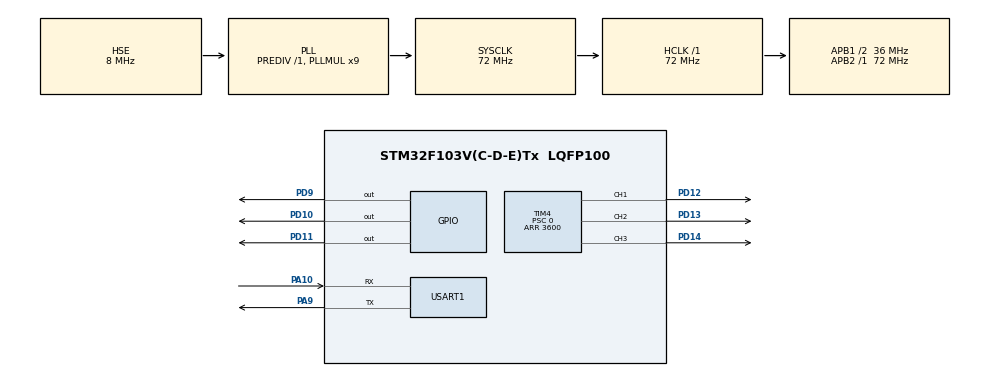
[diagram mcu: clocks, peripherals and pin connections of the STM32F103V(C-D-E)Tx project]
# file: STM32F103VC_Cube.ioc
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Dma.Request0=USART1_RX
Dma.Request1=USART1_TX
Dma.USART1_RX.0.Direction=DMA_PERIPH_TO_MEMORY
Dma.USART1_RX.0.Instance=DMA1_Channel5
Dma.USART1_RX.0.MemDataAlignment=DMA_MDATAALIGN_BYTE
Dma.USART1_RX.0.MemInc=DMA_MINC_ENABLE
Dma.USART1_RX.0.Mode=DMA_NORMAL
Dma.USART1_RX.0.PeriphDataAlignment=DMA_PDATAALIGN_BYTE
Dma.USART1_RX.0.PeriphInc=DMA_PINC_DISABLE
Dma.USART1_RX.0.Priority=DMA_PRIORITY_LOW
Dma.USART1_TX.1.Direction=DMA_MEMORY_TO_PERIPH
Dma.USART1_TX.1.Instance=DMA1_Channel4
Dma.USART1_TX.1.MemDataAlignment=DMA_MDATAALIGN_BYTE
Dma.USART1_TX.1.MemInc=DMA_MINC_ENABLE
Dma.USART1_TX.1.Mode=DMA_NORMAL
Dma.USART1_TX.1.PeriphDataAlignment=DMA_PDATAALIGN_BYTE
Dma.USART1_TX.1.PeriphInc=DMA_PINC_DISABLE
Dma.USART1_TX.1.Priority=DMA_PRIORITY_LOW
Mcu.Family=STM32F1
Mcu.Name=STM32F103V(C-D-E)Tx
Mcu.Package=LQFP100
NVIC.DMA1_Channel4_IRQn=true\:0\:0\:false\:false\:true
NVIC.DMA1_Channel5_IRQn=true\:0\:0\:false\:false\:true
NVIC.PriorityGroup=NVIC_PRIORITYGROUP_4
NVIC.USART1_IRQn=true\:0\:0\:false\:false\:true
OSC_IN.Mode=HSE-External-Oscillator
OSC_IN.Signal=RCC_OSC_IN
OSC_OUT.Mode=HSE-External-Oscillator
OSC_OUT.Signal=RCC_OSC_OUT
PA10.Mode=Asynchronous
PA10.Signal=USART1_RX
PA13.Mode=JTAG_4_pins
PA13.Signal=SYS_JTMS-SWDIO
PA14.Mode=JTAG_4_pins
PA14.Signal=SYS_JTCK-SWCLK
PA15.Mode=JTAG_4_pins
PA15.Signal=SYS_JTDI
PA9.Mode=Asynchronous
PA9.Signal=USART1_TX
PB3.Mode=JTAG_4_pins
PB3.Signal=SYS_JTDO-TRACESWO
PD10.Signal=GPIO_Output
PD11.Signal=GPIO_Output
PD12.Signal=S_TIM4_CH1
PD13.Signal=S_TIM4_CH2
PD14.Signal=S_TIM4_CH3
PD9.Signal=GPIO_Output
ProjectManager.HeapSize=0x800
ProjectManager.StackSize=0x400
ProjectManager.TargetToolchain=EWARM
RCC.AHBFreq_Value=72000000
RCC.APB1CLKDivider=RCC_HCLK_DIV2
RCC.APB1Freq_Value=36000000
RCC.APB1TimFreq_Value=72000000
RCC.APB2Freq_Value=72000000
RCC.APB2TimFreq_Value=72000000
RCC.HCLKFreq_Value=72000000
RCC.HSIState=RCC_HSI_ON
RCC.PLLMUL=RCC_PLL_MUL9
RCC.PLLSourceVirtual=RCC_PLLSOURCE_HSE
RCC.SYSCLKFreq_VALUE=72000000
RCC.SYSCLKSource=RCC_SYSCLKSOURCE_PLLCLK
RCC.USBFreq_Value=72000000
SH.S_TIM4_CH1.0=TIM4_CH1,PWM Generation1 CH1
SH.S_TIM4_CH2.0=TIM4_CH2,PWM Generation2 CH2
SH.S_TIM4_CH3.0=TIM4_CH3,PWM Generation3 CH3
TIM4.Channel-PWM\ Generation2\ CH2=TIM_CHANNEL_2
TIM4.Channel-PWM\ Generation3\ CH3=TIM_CHANNEL_3
TIM4.Period=3600
TIM4.Prescaler=0
board=STM32F103VC_Cube

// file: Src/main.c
/**
  ******************************************************************************
  * File Name          : main.c
  * Description        : Main program body
  ******************************************************************************
  *
  * COPYRIGHT(c) 2016 STMicroelectronics
  *
  * Redistribution and use in source and binary forms, with or without modification,
  * are permitted provided that the following conditions are met:
  *   1. Redistributions of source code must retain the above copyright notice,
  *      this list of conditions and the following disclaimer.
  *   2. Redistributions in binary form must reproduce the above copyright notice,
  *      this list of conditions and the following disclaimer in the documentation
  *      and/or other materials provided with the distribution.
  *   3. Neither the name of STMicroelectronics nor the names of its contributors
  *      may be used to endorse or promote products derived from this software
  *      without specific prior written permission.
  *
  * THIS SOFTWARE IS PROVIDED BY THE COPYRIGHT HOLDERS AND CONTRIBUTORS "AS IS"
  * AND ANY EXPRESS OR IMPLIED WARRANTIES, INCLUDING, BUT NOT LIMITED TO, THE
  * IMPLIED WARRANTIES OF MERCHANTABILITY AND FITNESS FOR A PARTICULAR PURPOSE ARE
  * DISCLAIMED. IN NO EVENT SHALL THE COPYRIGHT HOLDER OR CONTRIBUTORS BE LIABLE
  * FOR ANY DIRECT, INDIRECT, INCIDENTAL, SPECIAL, EXEMPLARY, OR CONSEQUENTIAL
  * DAMAGES (INCLUDING, BUT NOT LIMITED TO, PROCUREMENT OF SUBSTITUTE GOODS OR
  * SERVICES; LOSS OF USE, DATA, OR PROFITS; OR BUSINESS INTERRUPTION) HOWEVER
  * CAUSED AND ON ANY THEORY OF LIABILITY, WHETHER IN CONTRACT, STRICT LIABILITY,
  * OR TORT (INCLUDING NEGLIGENCE OR OTHERWISE) ARISING IN ANY WAY OUT OF THE USE
  * OF THIS SOFTWARE, EVEN IF ADVISED OF THE POSSIBILITY OF SUCH DAMAGE.
  *
  ******************************************************************************
  */
#include "main.h"
#include "stm32f1xx_hal.h"
#include "dma.h"
#include "tim.h"
#include "usart.h"
#include "gpio.h"

/* USER CODE BEGIN Includes */
#include "TaskTimeManager.h"
#include "ComBuff.h"
#include "ProtocolFrame.h"
/* USER CODE END Includes */

/* USER CODE BEGIN PV */
/* Private variables ---------------------------------------------------------*/

/* USER CODE END PV */

void SystemClock_Config(void);
void Error_Handler(void);

/* USER CODE BEGIN PFP */
/* Private function prototypes -----------------------------------------------*/

/* USER CODE END PFP */

/* USER CODE BEGIN 0 */
SYSTEM_MODE System_Mode = Self_Inspection;
int8_t Heart_Flag = -1;
//---------心跳检查---------------
void Heart_Check(void){
	if(Heart_Flag == 0){
    printf("心跳终止\r\n");
	}else if(Heart_Flag == 1){

		Heart_Flag = 0;
	}
}

uint8_t m_data = 0;
uint8_t addr = 0;
void LED_TEST(void){
  static uint8_t seq = 0;
//  uint8_t data[100] = "123456\r\n";
//  Uart1_DMA_Sender.Write(&Uart1_DMA_Sender, data, 8);
//  memset(data, 0, 8);
  //PRINT_HEAP();
  printf("LED_TEST:%d\r\n", seq++);
}

//持续传输发送者缓冲区中的缓冲数据
void SenderKeepTransmit(void){
  Uart1_DMA_Sender.KeepTransmit(&Uart1_DMA_Sender);
}

void PaddingProtocol(void){
	#define BUFFSIZE 100
	int8_t cnt = 0;
	uint8_t data[BUFFSIZE] = {0};
	#if UART1_PROTOCOL_RESOLVER && UART1_DMA_RECEIVER
    if((cnt = Uart1_DMA_Receiver.ReadTo(&Uart1_DMA_Receiver,0xf8,data,BUFFSIZE))>0)
      UART1_Resolver->Protocol_Put(UART1_Resolver,data,cnt);
  #endif
	#if UART2_PROTOCOL_RESOLVER && UART2_DMA_RECEIVER
		if((cnt = Uart2_DMA_Receiver.ReadTo(&Uart2_DMA_Receiver,0xf8,data,BUFFSIZE))>0)
			UART2_Resolver->Protocol_Put(UART2_Resolver,data,cnt);
	#endif
	#if UART3_PROTOCOL_RESOLVER && UART3_DMA_RECEIVER
		if((cnt = Uart3_DMA_Receiver.ReadTo(&Uart3_DMA_Receiver,0xf8,data,BUFFSIZE))>0)
			UART3_Resolver->Protocol_Put(UART3_Resolver,data,cnt);
	#endif
	#if UART4_PROTOCOL_RESOLVER && UART4_DMA_RECEIVER
		if((cnt = Uart4_DMA_Receiver.ReadTo(&Uart4_DMA_Receiver,0xf8,data,BUFFSIZE))>0)
			UART4_Resolver->Protocol_Put(UART4_Resolver,data,cnt);
	#endif
}
/* USER CODE END 0 */

int main(void)
{

  /* MCU Configuration----------------------------------------------------------*/

  /* Reset of all peripherals, Initializes the Flash interface and the Systick. */
  HAL_Init();

  /* Configure the system clock */
  SystemClock_Config();

  /* Initialize all configured peripherals */
  MX_GPIO_Init();
  MX_DMA_Init();
  MX_USART1_UART_Init();
  MX_TIM4_Init();

  /* USER CODE BEGIN 2 */
  TaskTime_Init();
  ProtocolFrame_Init();
  Log_Init();
  ComBuff_Init();

  TaskTime_Add(TaskID++, TimeCycle(0,500), LED_TEST, Count_Mode);
  TaskTime_Add(TaskID++, TimeCycle(0,30), SenderKeepTransmit, Count_Mode);
  TaskTime_Add(TaskID++, TimeCycle(0,30), PaddingProtocol, Count_Mode);
	TaskTime_Add(TaskID++, TimeCycle(0,30), FetchProtocols, Count_Mode);
  /* USER CODE END 2 */

  /* Infinite loop */
  while (1)
  {

  /* USER CODE BEGIN 3 */
    TaskTime_Run();

  }
  /* USER CODE END 3 */

}

/** System Clock Configuration
*/
void SystemClock_Config(void)
{

  RCC_OscInitTypeDef RCC_OscInitStruct;
  RCC_ClkInitTypeDef RCC_ClkInitStruct;

    /**Initializes the CPU, AHB and APB busses clocks
    */
  RCC_OscInitStruct.OscillatorType = RCC_OSCILLATORTYPE_HSE;
  RCC_OscInitStruct.HSEState = RCC_HSE_ON;
  RCC_OscInitStruct.HSEPredivValue = RCC_HSE_PREDIV_DIV1;
  RCC_OscInitStruct.HSIState = RCC_HSI_ON;
  RCC_OscInitStruct.PLL.PLLState = RCC_PLL_ON;
  RCC_OscInitStruct.PLL.PLLSource = RCC_PLLSOURCE_HSE;
  RCC_OscInitStruct.PLL.PLLMUL = RCC_PLL_MUL9;
  if (HAL_RCC_OscConfig(&RCC_OscInitStruct) != HAL_OK)
  {
    Error_Handler();
  }

    /**Initializes the CPU, AHB and APB busses clocks
    */
  RCC_ClkInitStruct.ClockType = RCC_CLOCKTYPE_HCLK|RCC_CLOCKTYPE_SYSCLK
                              |RCC_CLOCKTYPE_PCLK1|RCC_CLOCKTYPE_PCLK2;
  RCC_ClkInitStruct.SYSCLKSource = RCC_SYSCLKSOURCE_PLLCLK;
  RCC_ClkInitStruct.AHBCLKDivider = RCC_SYSCLK_DIV1;
  RCC_ClkInitStruct.APB1CLKDivider = RCC_HCLK_DIV2;
  RCC_ClkInitStruct.APB2CLKDivider = RCC_HCLK_DIV1;

  if (HAL_RCC_ClockConfig(&RCC_ClkInitStruct, FLASH_LATENCY_2) != HAL_OK)
  {
    Error_Handler();
  }

    /**Configure the Systick interrupt time
    */
  HAL_SYSTICK_Config(HAL_RCC_GetHCLKFreq()/1000);

    /**Configure the Systick
    */
  HAL_SYSTICK_CLKSourceConfig(SYSTICK_CLKSOURCE_HCLK);

  /* SysTick_IRQn interrupt configuration */
  HAL_NVIC_SetPriority(SysTick_IRQn, 0, 0);
}

void Error_Handler(void)
{
  while(1)
  {
  }
}

/************************ (C) COPYRIGHT STMicroelectronics *****END OF FILE****/
